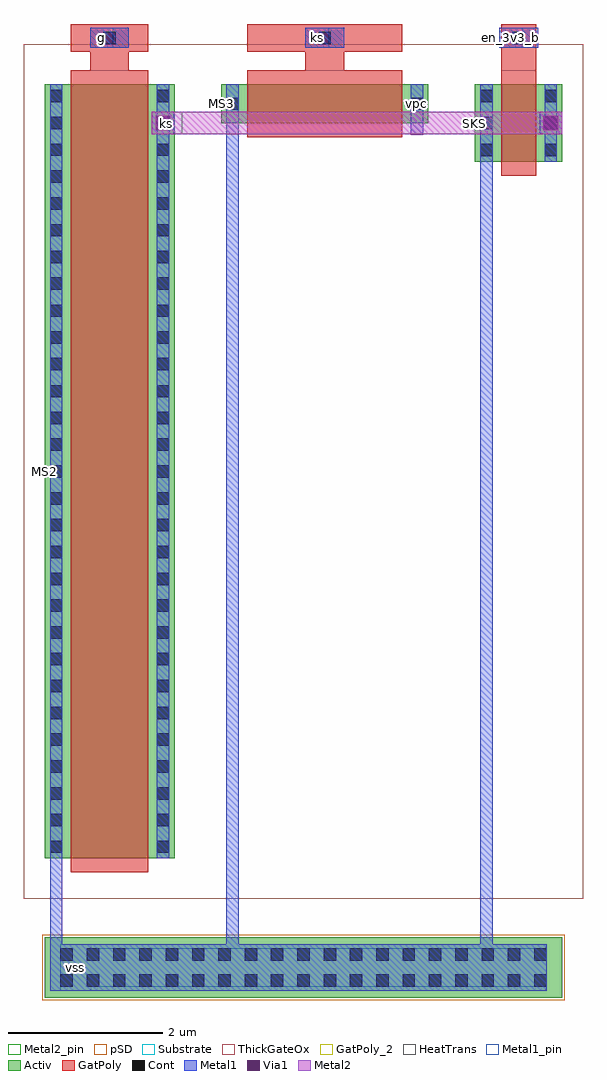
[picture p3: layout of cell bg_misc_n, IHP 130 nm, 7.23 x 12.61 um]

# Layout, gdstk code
import gdstk
lib = gdstk.Library(unit=1e-6, precision=1e-09)
def R(c, l, rs):  # rectangles x0, y0, x1, y1
    for r in rs: c.add(gdstk.rectangle(r[:2], r[2:], *l))
def A(c, l, x, y, w, h, nx, ny, dx, dy):  # array of equal rectangles
    R(c, l, [(x+i*dx, y+j*dy, x+i*dx+w, y+j*dy+h) for i in range(nx) for j in range(ny)])
Activ = (1, 0)
GatPoly = (5, 0)
GatPoly_2 = (5, 2)
Cont = (6, 0)
Metal1 = (8, 0)
Metal1_pin = (8, 2)
Metal2 = (10, 0)
Metal2_pin = (10, 2)
pSD = (14, 0)
Via1 = (19, 0)
Substrate = (40, 0)
ThickGateOx = (44, 0)
HeatTrans = (51, 0)

nmoshv_7 = lib.new_cell('nmosHV$7')
R(nmoshv_7, Activ, [(0,0,0.3,0.3), (0,0,1.68,10), (1.38,0,1.68,0.3)])
R(nmoshv_7, GatPoly, [(0.34,-0.18,1.34,10.18)])
R(nmoshv_7, GatPoly_2, [(0.34,-0.18,1.34,10.18)])
A(nmoshv_7, Cont, 0.07, 0.07, 0.16, 0.16, 1, 4, 0, 0.345)
A(nmoshv_7, Cont, 1.45, 0.07, 0.16, 0.16, 1, 4, 0, 0.345)
A(nmoshv_7, Cont, 0.07, 1.455, 0.16, 0.16, 1, 3, 0, 0.345)
A(nmoshv_7, Cont, 1.45, 1.455, 0.16, 0.16, 1, 3, 0, 0.345)
A(nmoshv_7, Cont, 0.07, 2.495, 0.16, 0.16, 1, 4, 0, 0.345)
A(nmoshv_7, Cont, 1.45, 2.495, 0.16, 0.16, 1, 4, 0, 0.345)
A(nmoshv_7, Cont, 0.07, 3.88, 0.16, 0.16, 1, 3, 0, 0.345)
A(nmoshv_7, Cont, 1.45, 3.88, 0.16, 0.16, 1, 3, 0, 0.345)
A(nmoshv_7, Cont, 0.07, 4.92, 0.16, 0.16, 1, 4, 0, 0.345)
A(nmoshv_7, Cont, 1.45, 4.92, 0.16, 0.16, 1, 4, 0, 0.345)
A(nmoshv_7, Cont, 0.07, 6.305, 0.16, 0.16, 1, 3, 0, 0.345)
A(nmoshv_7, Cont, 1.45, 6.305, 0.16, 0.16, 1, 3, 0, 0.345)
A(nmoshv_7, Cont, 0.07, 7.345, 0.16, 0.16, 1, 4, 0, 0.345)
A(nmoshv_7, Cont, 1.45, 7.345, 0.16, 0.16, 1, 4, 0, 0.345)
A(nmoshv_7, Cont, 0.07, 8.73, 0.16, 0.16, 1, 3, 0, 0.345)
A(nmoshv_7, Cont, 1.45, 8.73, 0.16, 0.16, 1, 3, 0, 0.345)
R(nmoshv_7, Cont, [(0.07,9.77,0.23,9.93), (1.45,9.77,1.61,9.93)])
R(nmoshv_7, Metal1, [(0.07,0,0.23,10), (1.45,0,1.61,10)])
R(nmoshv_7, Metal1_pin, [(0.07,0,0.23,10), (1.45,0,1.61,10)])
R(nmoshv_7, ThickGateOx, [(-0.27,-0.52,1.95,10.52)])
R(nmoshv_7, HeatTrans, [(0.34,-0.18,1.34,10.18)])
nmoshv_7.add(gdstk.Label('nmosHV', (0.84,5), layer=63, texttype=0))
nmoshv_7.add(gdstk.Label('nmosHV', (0.84,5), layer=51, texttype=0))

nmoshv_5 = lib.new_cell('nmosHV$5')
R(nmoshv_5, Activ, [(0,0,0.3,0.3), (0,0,1.13,1), (0.83,0,1.13,0.3)])
R(nmoshv_5, GatPoly, [(0.34,-0.18,0.79,1.18)])
R(nmoshv_5, GatPoly_2, [(0.34,-0.18,0.79,1.18)])
A(nmoshv_5, Cont, 0.07, 0.07, 0.16, 0.16, 1, 3, 0, 0.35)
A(nmoshv_5, Cont, 0.9, 0.07, 0.16, 0.16, 1, 3, 0, 0.35)
R(nmoshv_5, Metal1, [(0.07,0,0.23,1), (0.9,0,1.06,1)])
R(nmoshv_5, Metal1_pin, [(0.07,0,0.23,1), (0.9,0,1.06,1)])
R(nmoshv_5, ThickGateOx, [(-0.27,-0.52,1.4,1.52)])
R(nmoshv_5, HeatTrans, [(0.34,-0.18,0.79,1.18)])
nmoshv_5.add(gdstk.Label('nmosHV', (0.565,0.5), layer=63, texttype=0))
nmoshv_5.add(gdstk.Label('nmosHV', (0.565,0.5), layer=51, texttype=0))

nmoshv_9 = lib.new_cell('nmosHV$9')
R(nmoshv_9, Activ, [(0,0,0.3,0.3), (0,0,2.68,0.5), (2.38,0,2.68,0.3)])
R(nmoshv_9, GatPoly, [(0.34,-0.18,2.34,0.68)])
R(nmoshv_9, GatPoly_2, [(0.34,-0.18,2.34,0.68)])
R(nmoshv_9, Cont, [(0.07,0.17,0.23,0.33), (2.45,0.17,2.61,0.33)])
R(nmoshv_9, Metal1, [(0.07,0,0.23,0.5), (2.45,0,2.61,0.5)])
R(nmoshv_9, Metal1_pin, [(0.07,0,0.23,0.5), (2.45,0,2.61,0.5)])
R(nmoshv_9, ThickGateOx, [(-0.27,-0.52,2.95,1.02)])
R(nmoshv_9, HeatTrans, [(0.34,-0.18,2.34,0.68)])
nmoshv_9.add(gdstk.Label('nmosHV', (1.34,0.25), layer=63, texttype=0))
nmoshv_9.add(gdstk.Label('nmosHV', (1.34,0.25), layer=51, texttype=0))

ptap1_13 = lib.new_cell('ptap1$13')
R(ptap1_13, Activ, [(0,0,6.69,0.78)])
A(ptap1_13, Cont, 0.205, 0.14, 0.16, 0.16, 19, 2, 0.34, 0.34)
R(ptap1_13, Metal1, [(0.205,0.09,6.485,0.69), (0.205,0.14,6.485,0.64)])
R(ptap1_13, Metal1_pin, [(0.205,0.14,6.485,0.64)])
R(ptap1_13, pSD, [(-0.03,-0.03,6.72,0.81)])
R(ptap1_13, Substrate, [(0,0,6.69,0.78)])
ptap1_13.add(gdstk.Label('sub!', (3.345,0.01), layer=63, texttype=0))
ptap1_13.add(gdstk.Label('sub!', (3.345,0.01), layer=40, texttype=0))

bg_misc_n = lib.new_cell('bg_misc_n')
R(bg_misc_n, GatPoly, [(0.59,10,1.09,10.43), (3.37,10,3.87,10.43), (5.9,10,6.35,10.43), (0.34,10.42,1.34,10.78), (2.62,10.42,4.62,10.78), (5.9,10.42,6.35,10.78)])
R(bg_misc_n, Cont, [(0.76,10.52,0.92,10.68), (3.54,10.52,3.7,10.68), (6.045,10.52,6.205,10.68)])
R(bg_misc_n, Metal1, [(0.07,-1.71,5.79,-1.11), (0.07,-1.21,0.23,0.05), (2.35,-1.21,2.51,9.55), (5.63,-1.21,5.79,9.05), (2.35,9.35,2.51,10), (4.73,9.35,4.89,10), (1.385,9.355,1.675,9.645), (6.395,9.355,6.685,9.645), (0.59,10.47,1.09,10.73), (3.37,10.47,3.87,10.73), (5.875,10.47,6.375,10.73)])
R(bg_misc_n, Metal1_pin, [(0.205,-1.71,0.605,-1.11), (4.73,9.5,4.89,10), (0.59,10.47,0.89,10.73), (3.37,10.47,3.67,10.73), (5.875,10.47,6.175,10.73)])
R(bg_misc_n, Metal2, [(1.385,9.355,6.685,9.645)])
R(bg_misc_n, Metal2_pin, [(1.385,9.355,1.78,9.645)])
R(bg_misc_n, Via1, [(1.435,9.405,1.625,9.595), (6.445,9.405,6.635,9.595)])
R(bg_misc_n, ThickGateOx, [(-0.27,-0.52,6.96,10.52)])
bg_misc_n.add(gdstk.Reference(nmoshv_7, (0,0)))
bg_misc_n.add(gdstk.Reference(nmoshv_5, (5.56,9)))
bg_misc_n.add(gdstk.Reference(nmoshv_9, (2.28,9.5)))
bg_misc_n.add(gdstk.Reference(ptap1_13, (0,-1.8)))
bg_misc_n.add(gdstk.Label('MS2', (0,5), layer=63, texttype=0))
bg_misc_n.add(gdstk.Label('MS3', (2.28,9.75), layer=63, texttype=0))
bg_misc_n.add(gdstk.Label('SKS', (5.56,9.5), layer=63, texttype=0))
bg_misc_n.add(gdstk.Label('g', (0.74,10.6), layer=8, texttype=25))
bg_misc_n.add(gdstk.Label('ks', (3.52,10.6), layer=8, texttype=25))
bg_misc_n.add(gdstk.Label('en_3v3_b', (6.025,10.6), layer=8, texttype=25))
bg_misc_n.add(gdstk.Label('vss', (0.405,-1.41), layer=8, texttype=25))
bg_misc_n.add(gdstk.Label('vpc', (4.81,9.75), layer=8, texttype=25))
bg_misc_n.add(gdstk.Label('ks', (1.58,9.5), layer=10, texttype=25))

lib.write_gds('bg_misc_n.gds')
